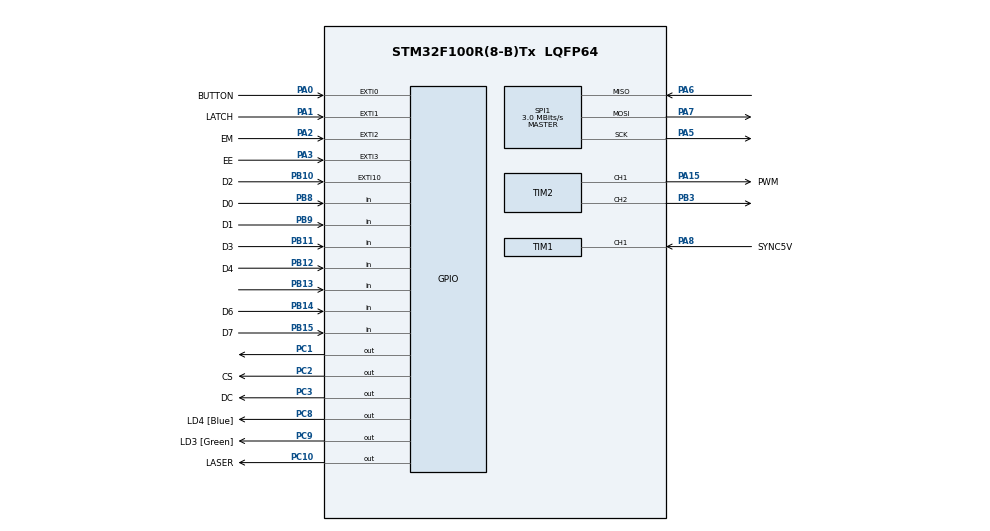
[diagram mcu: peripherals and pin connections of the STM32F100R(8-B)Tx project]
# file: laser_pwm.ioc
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Dma.Request0=TIM1_CH1
Dma.TIM1_CH1.0.Direction=DMA_PERIPH_TO_MEMORY
Dma.TIM1_CH1.0.Instance=DMA1_Channel2
Dma.TIM1_CH1.0.MemDataAlignment=DMA_MDATAALIGN_HALFWORD
Dma.TIM1_CH1.0.MemInc=DMA_MINC_DISABLE
Dma.TIM1_CH1.0.Mode=DMA_CIRCULAR
Dma.TIM1_CH1.0.PeriphDataAlignment=DMA_PDATAALIGN_HALFWORD
Dma.TIM1_CH1.0.PeriphInc=DMA_PINC_DISABLE
Dma.TIM1_CH1.0.Priority=DMA_PRIORITY_LOW
Mcu.Family=STM32F1
Mcu.Name=STM32F100R(8-B)Tx
Mcu.Package=LQFP64
NVIC.EXTI0_IRQn=true\:0\:0\:false\:false\:true\:true\:true\:true
NVIC.EXTI1_IRQn=true\:1\:0\:true\:false\:true\:true\:true\:true
NVIC.EXTI2_IRQn=true\:0\:0\:true\:false\:true\:true\:true\:true
NVIC.EXTI3_IRQn=true\:0\:0\:false\:false\:true\:true\:true\:true
NVIC.PriorityGroup=NVIC_PRIORITYGROUP_4
PA0-WKUP.GPIO_Label=BUTTON
PA0-WKUP.GPIO_PuPd=GPIO_PULLDOWN
PA0-WKUP.Signal=GPXTI0
PA1.GPIO_Label=LATCH
PA1.GPIO_PuPd=GPIO_NOPULL
PA1.Signal=GPXTI1
PA13.GPIO_Label=TMS_SWDIO
PA13.Mode=Serial_Wire
PA13.Signal=SYS_JTMS-SWDIO
PA14.GPIO_Label=TCK_SWCLK
PA14.Mode=Serial_Wire
PA14.Signal=SYS_JTCK-SWCLK
PA15.GPIO_Label=PWM
PA15.GPIO_Speed=GPIO_SPEED_FREQ_HIGH
PA15.Signal=S_TIM2_CH1_ETR
PA2.GPIO_Label=EM
PA2.GPIO_ModeDefaultEXTI=GPIO_MODE_IT_RISING_FALLING
PA2.Signal=GPXTI2
PA3.GPIO_Label=EE
PA3.GPIO_ModeDefaultEXTI=GPIO_MODE_IT_RISING_FALLING
PA3.Signal=GPXTI3
PA5.Mode=Full_Duplex_Master
PA5.Signal=SPI1_SCK
PA6.Mode=Full_Duplex_Master
PA6.Signal=SPI1_MISO
PA7.Mode=Full_Duplex_Master
PA7.Signal=SPI1_MOSI
PA8.GPIO_Label=SYNC5V
PA8.Signal=S_TIM1_CH1
PB10.GPIO_Label=D2
PB10.Signal=GPXTI10
PB11.GPIO_Label=D3
PB11.Signal=GPIO_Input
PB12.GPIO_Label=D4
PB12.Signal=GPIO_Input
PB13.Signal=GPIO_Input
PB14.GPIO_Label=D6
PB14.Signal=GPIO_Input
PB15.GPIO_Label=D7
PB15.Signal=GPIO_Input
PB3.Signal=S_TIM2_CH2
PB8.GPIO_Label=D0
PB8.Signal=GPIO_Input
PB9.GPIO_Label=D1
PB9.Signal=GPIO_Input
PC1.Signal=GPIO_Output
PC10.GPIO_Label=LASER
PC10.GPIO_Speed=GPIO_SPEED_FREQ_HIGH
PC10.Signal=GPIO_Output
PC14-OSC32_IN.Mode=LSE-External-Oscillator
PC14-OSC32_IN.Signal=RCC_OSC32_IN
PC15-OSC32_OUT.Mode=LSE-External-Oscillator
PC15-OSC32_OUT.Signal=RCC_OSC32_OUT
PC2.GPIO_Label=CS
PC2.Signal=GPIO_Output
PC3.GPIO_Label=DC
PC3.Signal=GPIO_Output
PC8.GPIO_Label=LD4 [Blue]
PC8.Signal=GPIO_Output
PC9.GPIO_Label=LD3 [Green]
PC9.Signal=GPIO_Output
PD0-OSC_IN.Mode=HSE-External-Oscillator
PD0-OSC_IN.Signal=RCC_OSC_IN
PD1-OSC_OUT.Mode=HSE-External-Oscillator
PD1-OSC_OUT.Signal=RCC_OSC_OUT
ProjectManager.HeapSize=0x200
ProjectManager.StackSize=0x400
ProjectManager.TargetToolchain=MDK-ARM V5.32
RCC.AHBFreq_Value=24000000
RCC.APB1Freq_Value=24000000
RCC.APB1TimFreq_Value=24000000
RCC.APB2Freq_Value=24000000
RCC.APB2TimFreq_Value=24000000
RCC.HCLKFreq_Value=24000000
RCC.PLLMUL=RCC_PLL_MUL6
RCC.SYSCLKFreq_VALUE=24000000
RCC.SYSCLKSource=RCC_SYSCLKSOURCE_PLLCLK
SH.S_TIM1_CH1.0=TIM1_CH1,Input_Capture1_from_TI1
SH.S_TIM2_CH1_ETR.0=TIM2_CH1,PWM Generation1 CH1
SH.S_TIM2_CH2.0=TIM2_CH2,PWM Generation2 CH2
SPI1.BaudRatePrescaler=SPI_BAUDRATEPRESCALER_8
SPI1.CalculateBaudRate=3.0 MBits/s
SPI1.Direction=SPI_DIRECTION_2LINES
SPI1.Mode=SPI_MODE_MASTER
SPI1.VirtualType=VM_MASTER
TIM1.Channel-Input_Capture1_from_TI1=TIM_CHANNEL_1
TIM1.Period=23999
TIM2.AutoReloadPreload=TIM_AUTORELOAD_PRELOAD_ENABLE
TIM2.Channel-PWM\ Generation1\ CH1=TIM_CHANNEL_1
TIM2.Channel-PWM\ Generation2\ CH2=TIM_CHANNEL_2
VP_TIM1_VS_ClockSourceINT.Mode=Internal
VP_TIM2_VS_ClockSourceINT.Mode=Internal
board=STM32VLDISCOVERY

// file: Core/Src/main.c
/* USER CODE BEGIN Header */
/**
  ******************************************************************************
  * @file           : main.c
  * @brief          : Main program body
  ******************************************************************************
  * @attention
  *
  * Copyright (c) 2024 STMicroelectronics.
  * All rights reserved.
  *
  * This software is licensed under terms that can be found in the LICENSE file
  * in the root directory of this software component.
  * If no LICENSE file comes with this software, it is provided AS-IS.
  *
  ******************************************************************************
  */
/* USER CODE END Header */
#include "main.h"
#include "dma.h"
#include "spi.h"
#include "tim.h"
#include "gpio.h"

/* USER CODE BEGIN Includes */
#include "st7735.h"
#include <string.h>
#include "fonts.h"
#include <stdlib.h>
/* USER CODE END Includes */

/* USER CODE BEGIN PD */
#define DMA_CH DMA1_Channel4
/* USER CODE END PD */

/* USER CODE BEGIN PV */
uint8_t Fault_i=0;
uint16_t CCR1_IRQ_Data = 10000;
uint16_t idrdata = 0;

uint16_t display_data = 0;
uint16_t display_data1 = 0;
uint32_t t = 0;
uint32_t info;
uint16_t x=0;
uint16_t y=0;
uint16_t dotx=60;
uint16_t doty=60;
char tstr[6];
char gstr[6];
char str[32];

/* USER CODE END PV */

void SystemClock_Config(void);
/* USER CODE BEGIN PFP */
uint16_t ReadData_D0D7(void);
void reverse(char s[]);
void Display_defaults(void);
void Display_update(void);
void itoa(uint16_t n, char s[]);
/* USER CODE END PFP */

int main(void)
{

  /* MCU Configuration--------------------------------------------------------*/

  /* Reset of all peripherals, Initializes the Flash interface and the Systick. */
  HAL_Init();

  /* Configure the system clock */
  SystemClock_Config();

  /* Initialize all configured peripherals */
  MX_GPIO_Init();
  MX_DMA_Init();
  MX_TIM2_Init();
  MX_SPI1_Init();
  MX_TIM1_Init();
  /* USER CODE BEGIN 2 */

	//DMA CFG
	CLEAR_BIT(DMA_CH->CCR, DMA_CCR_EN); //disable DMA channel
	/////////////////////////////////////
	WRITE_REG(DMA_CH->CPAR,(uint32_t)&(TIM1->CCR1)); //peripherial address (from)
	WRITE_REG(DMA_CH->CMAR, (uint32_t)&(CCR1_IRQ_Data)); //mem address (to)
	MODIFY_REG(DMA_CH->CNDTR, DMA_CNDTR_NDT, 1U);
	SET_BIT(TIM1->DIER,TIM_DIER_CC1DE); //enable DMA request
	//////////////////////////////////////
	SET_BIT(DMA_CH->CCR,DMA_CCR_EN); //enable DMA channel

  //FREQ capture
  TIM1->CCER|=TIM_CCER_CC1E;
  TIM1->CR1|=TIM_CR1_CEN;
  //

	NVIC_EnableIRQ(EXTI1_IRQn); //LATCH
  NVIC_SetPriority(EXTI1_IRQn,2);
  EXTI->IMR|=EXTI_IMR_IM1;

  NVIC_EnableIRQ(EXTI2_IRQn); //EM
  NVIC_SetPriority(EXTI2_IRQn,1);
  EXTI->IMR|=EXTI_IMR_IM2;

	NVIC_EnableIRQ(EXTI3_IRQn); //EE
  NVIC_SetPriority(EXTI3_IRQn,0);
  EXTI->IMR|=EXTI_IMR_IM3;

  /* USER CODE END 2 */

  /* Infinite loop */
  while (1)
  {

  }
}

void SystemClock_Config(void)
{
  LL_RCC_HSI_SetCalibTrimming(16);
  LL_RCC_HSI_Enable();

   /* Wait till HSI is ready */
  while(LL_RCC_HSI_IsReady() != 1)
  {

  }
  LL_RCC_PLL_ConfigDomain_SYS(LL_RCC_PLLSOURCE_HSI_DIV_2, LL_RCC_PLL_MUL_6);
  LL_RCC_PLL_Enable();

   /* Wait till PLL is ready */
  while(LL_RCC_PLL_IsReady() != 1)
  {

  }
  LL_RCC_SetAHBPrescaler(LL_RCC_SYSCLK_DIV_1);
  LL_RCC_SetAPB1Prescaler(LL_RCC_APB1_DIV_1);
  LL_RCC_SetAPB2Prescaler(LL_RCC_APB2_DIV_1);
  LL_RCC_SetSysClkSource(LL_RCC_SYS_CLKSOURCE_PLL);

   /* Wait till System clock is ready */
  while(LL_RCC_GetSysClkSource() != LL_RCC_SYS_CLKSOURCE_STATUS_PLL)
  {

  }
  LL_SetSystemCoreClock(24000000);

   /* Update the time base */
  if (HAL_InitTick (TICK_INT_PRIORITY) != HAL_OK)
  {
    Error_Handler();
  }
}

/* USER CODE BEGIN 4 */

/* set graphical display */
void Display_defaults(void){
  ST7735_Init();
  ST7735_FillScreen(ST7735_BLACK);
  ST7735_FillRectangle(0, 5, 160, 2, ST7735_WHITE);
  ST7735_WriteString(10, 17, "LASER CONTROL STATUS", Font_7x10, ST7735_WHITE, ST7735_BLACK);
  ST7735_FillRectangle(0, 35, 160, 2, ST7735_WHITE);
  ST7735_WriteString(0, 45, "FREQ,kHz" , Font_11x18, ST7735_WHITE, ST7735_BLACK);
  ST7735_WriteString(0, 65, "DUTY,%", Font_11x18, ST7735_WHITE, ST7735_BLACK);
  ST7735_WriteString(0, 85, "LATCH", Font_11x18, ST7735_WHITE, ST7735_BLACK);
  ST7735_WriteString(0, 105, "LASER", Font_11x18, ST7735_WHITE, ST7735_BLACK);
  ST7735_FillRectangle(95, 35, 2, 93, ST7735_WHITE);
  ST7735_WriteString(100, 45, "WAIT" , Font_11x18, ST7735_WHITE, ST7735_BLACK);
  ST7735_WriteString(100, 65, "WAIT", Font_11x18, ST7735_WHITE, ST7735_BLACK);
  ST7735_WriteString(100, 85, "WAIT", Font_11x18, ST7735_WHITE, ST7735_BLACK);
  ST7735_WriteString(100, 105, "OFF", Font_11x18, ST7735_WHITE, ST7735_BLACK);
}
/* update graphical display */
void Display_update(void){
  if(Fault_i){
    ST7735_WriteString(100, 45, "STOP ", Font_11x18, ST7735_WHITE, ST7735_BLACK);
    ST7735_WriteString(100, 65, "STOP ", Font_11x18, ST7735_WHITE, ST7735_BLACK);
    ST7735_WriteString(100, 85, "STOP ", Font_11x18, ST7735_WHITE, ST7735_BLACK);
    ST7735_WriteString(100, 105, "STOP ", Font_11x18, ST7735_WHITE, ST7735_BLACK);
  }
  else{
  if(CCR1_IRQ_Data){
    display_data1 = 24000/(CCR1_IRQ_Data);
    itoa(display_data1,gstr);
    ST7735_WriteString(100, 45, "    ", Font_11x18, ST7735_WHITE, ST7735_BLACK);
    ST7735_WriteString(100, 45, gstr ,Font_11x18, ST7735_WHITE, ST7735_BLACK);

  }
  if(idrdata){
    display_data = (100*idrdata)/0xFF;
    itoa(display_data,tstr);
    ST7735_WriteString(100, 65, "    ", Font_11x18, ST7735_WHITE, ST7735_BLACK);
    ST7735_WriteString(100, 65, tstr, Font_11x18, ST7735_WHITE, ST7735_BLACK);
    ST7735_WriteString(100, 85, "DONE", Font_11x18, ST7735_WHITE, ST7735_BLACK);
  }
  if((LASER_GPIO_Port->ODR) & GPIO_ODR_ODR10){
      //ST7735_FillRectangle(65, 105, 33, 18, ST7735_BLACK);
    ST7735_WriteString(100, 105, "ON ", Font_11x18, ST7735_WHITE, ST7735_BLACK);
    ST7735_WriteString(100, 85, "STOP", Font_11x18, ST7735_WHITE, ST7735_BLACK);
  }
  else{
      //ST7735_FillRectangle(65, 105, 33, 18, ST7735_BLACK);
    ST7735_WriteString(100, 105, "OFF", Font_11x18, ST7735_WHITE, ST7735_BLACK);
  }
  }
}

 /* itoa:  convert n to characters in s */
 void itoa(uint16_t n, char s[])
 {
     uint16_t i;

     i = 0;
     do {       /* generate digits in reverse order */
         s[i++] = n % 10 + '0';   /* get next digit */
     } while ((n /= 10) > 0);     /* delete it */
     s[i] = '\0';
     reverse(s);
 }

 void reverse(char s[])
 {
     uint16_t i, j;
     char c;

     for (i = 0, j = strlen(s)-1; i<j; i++, j--) {
         c = s[i];
         s[i] = s[j];
         s[j] = c;
     }
 }

/* USER CODE END 4 */

void Error_Handler(void)
{
  __disable_irq();
  while (1)
  {
  }
}
